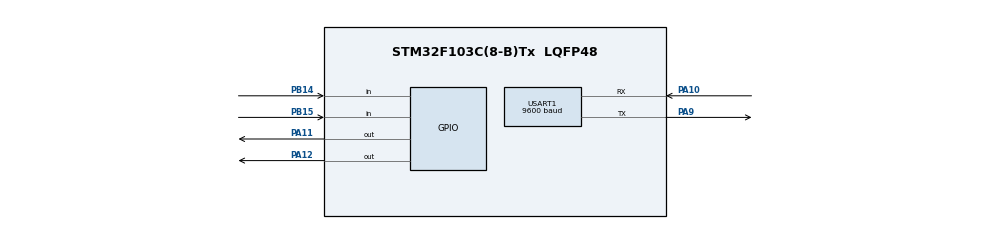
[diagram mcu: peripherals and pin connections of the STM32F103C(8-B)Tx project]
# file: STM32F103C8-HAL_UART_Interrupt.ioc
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Mcu.Family=STM32F1
Mcu.Name=STM32F103C(8-B)Tx
Mcu.Package=LQFP48
NVIC.PriorityGroup=NVIC_PRIORITYGROUP_4
NVIC.USART1_IRQn=true\:0\:0\:false\:false\:true\:true\:true
PA10.Mode=Asynchronous
PA10.Signal=USART1_RX
PA11.Signal=GPIO_Output
PA12.Signal=GPIO_Output
PA13.Mode=Serial_Wire
PA13.Signal=SYS_JTMS-SWDIO
PA14.Mode=Serial_Wire
PA14.Signal=SYS_JTCK-SWCLK
PA9.Mode=Asynchronous
PA9.Signal=USART1_TX
PB14.Signal=GPIO_Input
PB15.Signal=GPIO_Input
PD0-OSC_IN.Mode=HSE-External-Oscillator
PD0-OSC_IN.Signal=RCC_OSC_IN
PD1-OSC_OUT.Mode=HSE-External-Oscillator
PD1-OSC_OUT.Signal=RCC_OSC_OUT
ProjectManager.HeapSize=0x200
ProjectManager.StackSize=0x400
ProjectManager.TargetToolchain=MDK-ARM V5
RCC.APB1Freq_Value=8000000
RCC.APB2Freq_Value=8000000
RCC.SYSCLKSource=RCC_SYSCLKSOURCE_HSE
USART1.BaudRate=9600
USART1.VirtualMode=VM_ASYNC
board=custom

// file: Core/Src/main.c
/* USER CODE BEGIN Header */
/**
  ******************************************************************************
  * @file           : main.c
  * @brief          : Main program body
  ******************************************************************************
  * @attention
  *
  * Copyright (c) 2024 STMicroelectronics.
  * All rights reserved.
  *
  * This software is licensed under terms that can be found in the LICENSE file
  * in the root directory of this software component.
  * If no LICENSE file comes with this software, it is provided AS-IS.
  *
  ******************************************************************************
  */
/* USER CODE END Header */
#include "main.h"

UART_HandleTypeDef huart1;

void SystemClock_Config(void);
static void MX_GPIO_Init(void);
static void MX_USART1_UART_Init(void);

/* USER CODE BEGIN 0 */
volatile uint8_t blok_klaviaturi_received_data=0;

uint8_t Load=0;
uint8_t Work=0;

void HAL_UART_RxCpltCallback(UART_HandleTypeDef *huart)
{
          if(huart == &huart1)
          {
            HAL_UART_Receive_IT(&huart1, &blok_klaviaturi_received_data, 1);

						HAL_UART_Transmit(&huart1,&blok_klaviaturi_received_data,1,200);

						// что-то делаем
          }
}

void func1(void)
{
int etag=0;
 //HAL_UART_Transmit(&huart1,&blok_klaviaturi_received_data,1,200);

if(huart1.RxXferCount==0)
               {

				  HAL_UART_Transmit(&huart1,(uint8_t *)"Hello!",sizeof("Hello!"),200);

							 }

}

/* USER CODE END 0 */

int main(void)
{

  /* MCU Configuration--------------------------------------------------------*/

  /* Reset of all peripherals, Initializes the Flash interface and the Systick. */
  HAL_Init();

  /* Configure the system clock */
  SystemClock_Config();

  /* Initialize all configured peripherals */
  MX_GPIO_Init();
  MX_USART1_UART_Init();
  /* USER CODE BEGIN 2 */
	Load=1;

 HAL_UART_Receive_IT(&huart1, &blok_klaviaturi_received_data, 1);

  /* USER CODE END 2 */

  /* Infinite loop */
  /* USER CODE BEGIN WHILE */
  while (1)
  {

		while(Load==1)
		{

		//func1();

		if(HAL_GPIO_ReadPin(GPIOB,GPIO_PIN_14)>0)
		{
		HAL_Delay(50);
		if(HAL_GPIO_ReadPin(GPIOB,GPIO_PIN_14)>0)
		{
		Load=0;
		Work=1;
		//запрет прерываний на прием по UART3
//__HAL_UART_DISABLE_IT(&huart1, UART_IT_RXNE);

		//HAL_NVIC_DisableIRQ(USART1_IRQn);
			//RAB VAR !!!
		//HAL_UART_MspDeInit(&huart1);

		//RAB VAR
		//__HAL_UART_DISABLE(&huart1);

		blok_klaviaturi_received_data=0;
		}

	}

		HAL_Delay(200);

		}

		while (Work==1)
		{

		if(HAL_GPIO_ReadPin(GPIOB,GPIO_PIN_15)>0)
		{
		HAL_Delay(50);
		if(HAL_GPIO_ReadPin(GPIOB,GPIO_PIN_15)>0)
		{

		Load=1;
		Work=0;
		blok_klaviaturi_received_data=0;
		//__HAL_UART_ENABLE_IT(&huart1, UART_IT_RXNE);
		//HAL_NVIC_EnableIRQ(USART1_IRQn);
      //RAB VAR!!!
		//HAL_UART_MspInit(&huart1);
			//RAB VAR
			//__HAL_UART_ENABLE(&huart1);

		}

	}

		HAL_Delay(200);
		}

		/* USER CODE END WHILE */

  }
}

void SystemClock_Config(void)
{
  RCC_OscInitTypeDef RCC_OscInitStruct = {0};
  RCC_ClkInitTypeDef RCC_ClkInitStruct = {0};

  /** Initializes the RCC Oscillators according to the specified parameters
  * in the RCC_OscInitTypeDef structure.
  */
  RCC_OscInitStruct.OscillatorType = RCC_OSCILLATORTYPE_HSE;
  RCC_OscInitStruct.HSEState = RCC_HSE_ON;
  RCC_OscInitStruct.PLL.PLLState = RCC_PLL_NONE;
  if (HAL_RCC_OscConfig(&RCC_OscInitStruct) != HAL_OK)
  {
    Error_Handler();
  }
  /** Initializes the CPU, AHB and APB buses clocks
  */
  RCC_ClkInitStruct.ClockType = RCC_CLOCKTYPE_HCLK|RCC_CLOCKTYPE_SYSCLK
                              |RCC_CLOCKTYPE_PCLK1|RCC_CLOCKTYPE_PCLK2;
  RCC_ClkInitStruct.SYSCLKSource = RCC_SYSCLKSOURCE_HSE;
  RCC_ClkInitStruct.AHBCLKDivider = RCC_SYSCLK_DIV1;
  RCC_ClkInitStruct.APB1CLKDivider = RCC_HCLK_DIV1;
  RCC_ClkInitStruct.APB2CLKDivider = RCC_HCLK_DIV1;

  if (HAL_RCC_ClockConfig(&RCC_ClkInitStruct, FLASH_LATENCY_0) != HAL_OK)
  {
    Error_Handler();
  }
}

static void MX_USART1_UART_Init(void)
{

  huart1.Instance = USART1;
  huart1.Init.BaudRate = 9600;
  huart1.Init.WordLength = UART_WORDLENGTH_8B;
  huart1.Init.StopBits = UART_STOPBITS_1;
  huart1.Init.Parity = UART_PARITY_NONE;
  huart1.Init.Mode = UART_MODE_TX_RX;
  huart1.Init.HwFlowCtl = UART_HWCONTROL_NONE;
  huart1.Init.OverSampling = UART_OVERSAMPLING_16;
  if (HAL_UART_Init(&huart1) != HAL_OK)
  {
    Error_Handler();
  }

}

static void MX_GPIO_Init(void)
{
  GPIO_InitTypeDef GPIO_InitStruct = {0};

  /* GPIO Ports Clock Enable */
  __HAL_RCC_GPIOD_CLK_ENABLE();
  __HAL_RCC_GPIOB_CLK_ENABLE();
  __HAL_RCC_GPIOA_CLK_ENABLE();

  /*Configure GPIO pin Output Level */
  HAL_GPIO_WritePin(GPIOA, GPIO_PIN_11|GPIO_PIN_12, GPIO_PIN_RESET);

  /*Configure GPIO pins : PB14 PB15 */
  GPIO_InitStruct.Pin = GPIO_PIN_14|GPIO_PIN_15;
  GPIO_InitStruct.Mode = GPIO_MODE_INPUT;
  GPIO_InitStruct.Pull = GPIO_NOPULL;
  HAL_GPIO_Init(GPIOB, &GPIO_InitStruct);

  /*Configure GPIO pins : PA11 PA12 */
  GPIO_InitStruct.Pin = GPIO_PIN_11|GPIO_PIN_12;
  GPIO_InitStruct.Mode = GPIO_MODE_OUTPUT_PP;
  GPIO_InitStruct.Pull = GPIO_NOPULL;
  GPIO_InitStruct.Speed = GPIO_SPEED_FREQ_LOW;
  HAL_GPIO_Init(GPIOA, &GPIO_InitStruct);

}

void Error_Handler(void)
{
  __disable_irq();
  while (1)
  {
  }
}
